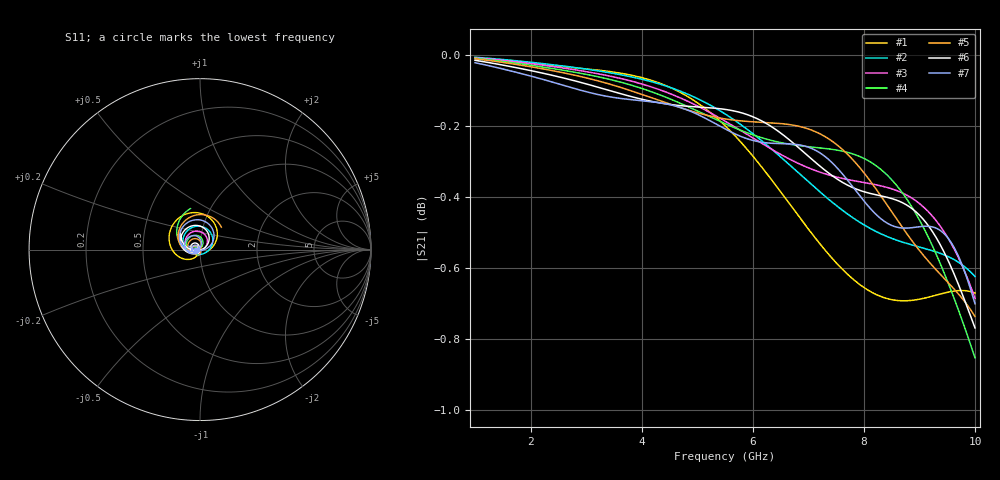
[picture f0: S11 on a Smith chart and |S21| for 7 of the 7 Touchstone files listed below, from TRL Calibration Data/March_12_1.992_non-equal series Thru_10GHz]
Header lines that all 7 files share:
! Touchstone file exported from HFSS 2018.2.0
!  File:  C:/Users/10024/OneDrive - The University of Nottingham Ningbo China/Year 4/Final Year Project/HFSS project/Passive_Resonator_Antenna.aedt
!  Design:  SMA_Thru
!  Project:  Passive_Resonator_Antenna
!  Setup:  Setup1
!  Solution:  Sweep
! Variables:
# GHZ S MA R 50.000000
! Modal data exported
! Port[1] = SMA_CONNECTOR1_1:1
! Port[2] = SMA_CONNECTOR2_1:1
Fixed: MW = 1.992mm, g = 0.2mm, subH = 0.8mm, subX = 20mm, tapW = 1.992mm
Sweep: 1 GHz to 10 GHz
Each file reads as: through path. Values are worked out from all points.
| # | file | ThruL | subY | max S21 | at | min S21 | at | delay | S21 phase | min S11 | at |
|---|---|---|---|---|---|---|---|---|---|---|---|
| 1 | 0.001mm.s2p | 0.001mm | 10.001mm | -0.01 dB | 1 GHz | -0.7 dB | 8.72 GHz | 117 ps | 128 deg at 5.5 GHz | -43.9 dB | 3.96 GHz |
| 2 | 1mm.s2p | 1mm | 11mm | -0.01 dB | 1 GHz | -0.6 dB | 10 GHz | 121 ps | 121 deg at 5.5 GHz | -44.1 dB | 4.18 GHz |
| 3 | 3mm.s2p | 3mm | 13mm | -0.01 dB | 1 GHz | -0.7 dB | 10 GHz | 132 ps | 101 deg at 5.5 GHz | -45.9 dB | 3.8 GHz |
| 4 | 5mm.s2p | 5mm | 15mm | -0.01 dB | 1 GHz | -0.9 dB | 10 GHz | 143 ps | 80 deg at 5.5 GHz | -49.4 dB | 7.94 GHz |
| 5 | 8mm.s2p | 8mm | 18mm | -0.01 dB | 1 GHz | -0.7 dB | 10 GHz | 158 ps | 50 deg at 5.5 GHz | -57.5 dB | 6.94 GHz |
| 6 | 13mm.s2p | 13mm | 23mm | -0.02 dB | 1 GHz | -0.8 dB | 10 GHz | 185 ps | -3 deg at 5.5 GHz | -50.5 dB | 9.14 GHz |
| 7 | 21mm.s2p | 21mm | 31mm | -0.02 dB | 1 GHz | -0.7 dB | 10 GHz | 227 ps | -86 deg at 5.5 GHz | -49.6 dB | 2 GHz |
